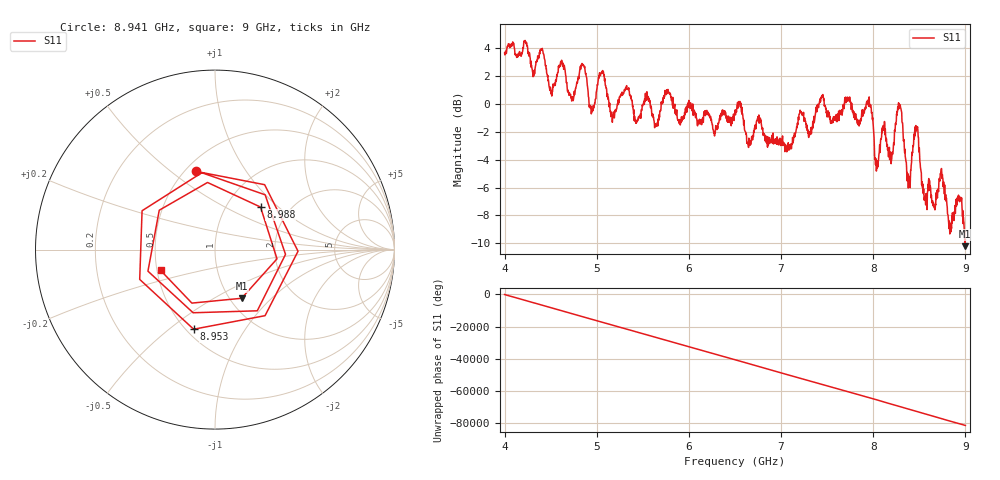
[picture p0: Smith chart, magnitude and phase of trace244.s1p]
! Created with skrf 1.8.0 (http://scikit-rf.org).
# Hz S RI R 50.0
!freq ReS11 ImS11
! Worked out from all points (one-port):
!   1601 points, 4 GHz to 9 GHz, reference 50 ohm
!   lowest |S11| = -10.2 dB at 8.994 GHz (marker M1), VSWR 1.89, Z = 56.6 - j33.9 ohm
!   |S11| at or under -10 dB: 8.993441 GHz to 8.995386 GHz (1.945 MHz wide, 0.0216 % of centre)
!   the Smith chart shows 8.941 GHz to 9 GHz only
!   S11 on the Smith chart (normalised r, x): 8.941 GHz: 0.56, +0.62; 8.953 GHz: 0.54, -0.61; 8.988 GHz: 1.43, +0.77; 9 GHz: 0.52, -0.13
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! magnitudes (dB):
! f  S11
! 4 GHz  3.6
! 4.403 GHz  3.9
! 4.506 GHz  0.7
! 4.625 GHz  2.8
! 4.725 GHz  0.5
! 4.847 GHz  2.8
! 4.941 GHz  -0.7
! 5.053 GHz  2.3
! 5.169 GHz  -1.3
! 5.25 GHz  0.5
! 5.875 GHz  -1.1
! 6.5 GHz  -0.5
! 7.125 GHz  -2.4
! 7.75 GHz  0.1
! 7.953 GHz  0.2
! 8.041 GHz  -4.6
! 8.109 GHz  -1.6
! 8.203 GHz  -3.8
! 8.284 GHz  0.0
! 8.375 GHz  -5.0
! 8.466 GHz  -1.9
! 8.559 GHz  -6.6
! 8.841 GHz  -8.6
! 8.941 GHz  -7.0
! 8.953 GHz  -6.8
! 8.988 GHz  -9.2
! 8.994 GHz  -10.2
! 9 GHz  -9.8
